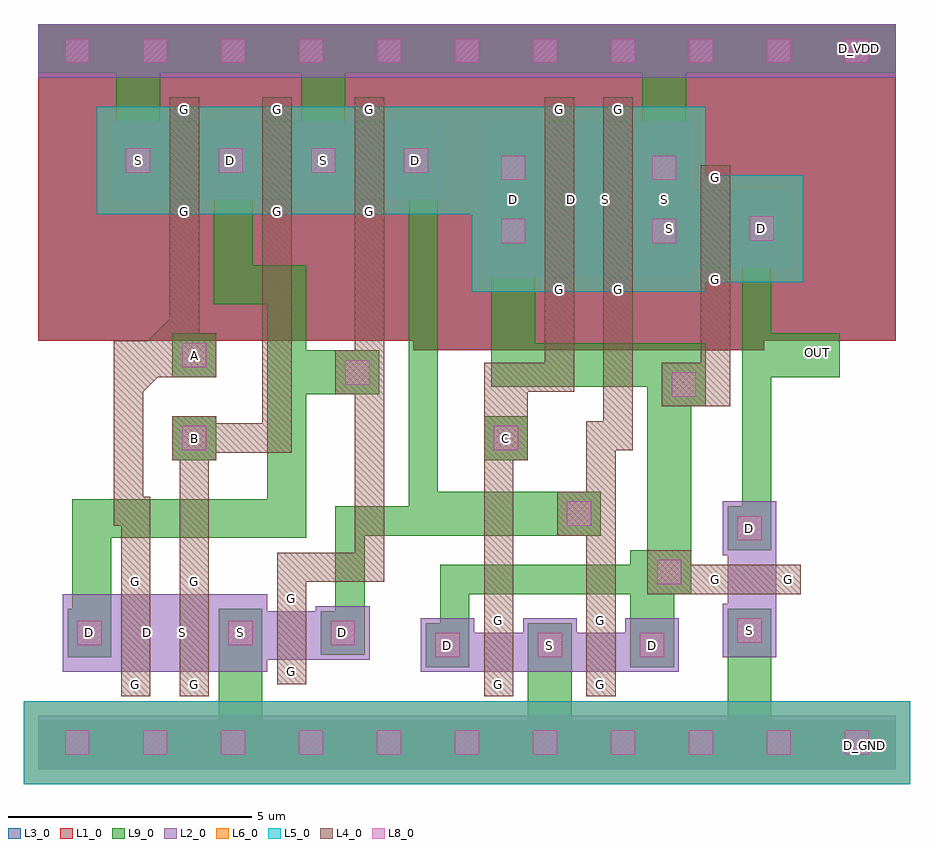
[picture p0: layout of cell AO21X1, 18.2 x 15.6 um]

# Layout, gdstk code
import gdstk
lib = gdstk.Library(unit=1e-6, precision=1e-09)
def R(c, l, rs):  # rectangles x0, y0, x1, y1
    for r in rs: c.add(gdstk.rectangle(r[:2], r[2:], *l))
def A(c, l, x, y, w, h, nx, ny, dx, dy):  # array of equal rectangles
    R(c, l, [(x+i*dx, y+j*dy, x+i*dx+w, y+j*dy+h) for i in range(nx) for j in range(ny)])
def P(c, l, *ps):  # polygons
    for p in ps: c.add(gdstk.Polygon(p, *l))
L1_0 = (1, 0)
L2_0 = (2, 0)
L3_0 = (3, 0)
L4_0 = (4, 0)
L5_0 = (5, 0)
L6_0 = (6, 0)
L8_0 = (8, 0)
L9_0 = (9, 0)

ao21x1 = lib.new_cell('AO21X1')
A(ao21x1, L1_0, 0, 8.8, 1.6, 6.5, 11, 1, 1.6, 0)
A(ao21x1, L1_0, 0, 10.2, 6, 4.6, 3, 1, 1.9, 0)
R(ao21x1, L1_0, [(7.7,8.6,13.7,14.8), (8.9,8.6,14.9,14.8), (10.9,8.8,16.9,13.4)])
A(ao21x1, L2_0, 0, 0, 1.6, 1.1, 11, 2, 1.6, 14.2)
A(ao21x1, L2_0, 2.6, 11.7, 0.8, 1.6, 3, 1, 1.9, 0)
R(ao21x1, L2_0, [(0.5,2,1.6,3.6), (1.6,2,2.4,3.6), (1.7,2,2.8,3.6), (2.4,2,3.5,3.6), (2.8,2,3.6,3.6), (3.6,2,4.7,3.6), (7.85,2,8.95,3.1), (8.95,2,9.95,2.8), (9.95,2,11.05,3.1), (9.95,2,11.05,3.1), (11.05,2,12.05,2.8), (12.05,2,13.15,3.1), (3.6,2.25,4.7,3.35), (4.7,2.25,5.7,3.25), (5.7,2.25,6.8,3.35), (14.05,2.3,15.15,3.4), (14.15,3.4,15.15,4.4), (14.05,4.4,15.15,5.5), (9.2,10.1,10.3,13.3), (10.3,10.1,11.1,13.3), (10.4,10.1,11.5,13.3), (11.1,10.1,12.2,13.3), (11.5,10.1,12.3,13.3), (12.3,10.1,13.4,13.3), (12.35,10.3,13.5,11.9), (12.4,10.3,13.5,11.9), (13.5,10.3,14.3,11.9), (14.3,10.3,15.4,11.9), (12.3,11.35,13.4,13.25), (1.5,11.7,2.6,13.3), (3.4,11.7,4.5,13.3), (3.4,11.7,4.5,13.3), (5.3,11.7,6.4,13.3), (5.3,11.7,6.4,13.3), (7.2,11.7,8.3,13.3)])
A(ao21x1, L3_0, 0, 8.8, 1.6, 6.5, 11, 1, 1.6, 0)
A(ao21x1, L3_0, 0, 10.2, 6, 4.6, 3, 1, 1.9, 0)
R(ao21x1, L3_0, [(7.7,8.6,13.7,14.8), (8.9,8.6,14.9,14.8), (10.9,8.8,16.9,13.4)])
A(ao21x1, L4_0, 2.7, 11.2, 0.6, 0.5, 3, 2, 1.9, 2.1)
A(ao21x1, L4_0, 2.7, 11.2, 0.6, 2.6, 3, 1, 1.9, 0)
R(ao21x1, L4_0, [(1.7,1.5,2.3,2), (1.7,1.5,2.3,4.1), (2.9,1.5,3.5,2), (2.9,1.5,3.5,4.1), (9.15,1.5,9.75,2), (9.15,1.5,9.75,3.3), (11.25,1.5,11.85,2), (11.25,1.5,11.85,3.3), (4.9,1.75,5.5,2.25), (4.9,1.75,5.5,3.75), (9.15,2.8,9.75,3.3), (11.25,2.8,11.85,3.3), (4.9,3.25,5.5,3.75), (11.25,3.25,11.85,4.4), (9.15,3.3,9.75,4.4), (1.7,3.6,2.3,4.1), (2.9,3.6,3.5,4.1), (12.5,3.6,13.4,4.5), (12.5,3.6,13.65,4.2), (13.65,3.6,15.65,4.2), (13.65,3.6,14.15,4.2), (15.15,3.6,15.65,4.2), (2.9,4.1,3.5,6.35), (10.65,4.8,11.55,5.7), (2.75,6.35,3.65,7.25), (9.15,6.35,10.05,7.25), (9.75,7.25,10.05,7.75), (12.8,7.45,13.7,8.35), (13.6,7.45,14.2,8.55), (6.1,7.7,7,8.6), (2.75,8.05,3.65,8.95), (2.7,8.2,3.3,11.4), (13.6,8.55,14.2,9.8), (10.4,9.6,11,13.8), (10.4,9.6,11,10.1), (11.6,9.6,12.2,13.8), (11.6,9.6,12.2,10.1), (13.6,9.8,14.2,10.3), (13.6,9.8,14.2,12.4), (13.6,11.9,14.2,12.4), (10.4,13.3,11,13.8), (11.6,13.3,12.2,13.8)])
P(ao21x1, L4_0, [(9.15,4.4),(9.75,4.4),(9.75,7.75),(11,7.75),(11,9.6),(10.4,9.6),(10.4,8.35),(9.15,8.35)],
  [(11.25,4.4),(11.85,4.4),(11.85,6.55),(12.2,6.55),(12.2,9.6),(11.6,9.6),(11.6,7.15),(11.25,7.15)],
  [(3.65,6.5),(5.2,6.5),(5.2,11.2),(4.6,11.2),(4.6,7.1),(3.65,7.1)],
  [(1.55,5),(1.7,5),(1.7,4.1),(2.3,4.1),(2.3,5.6),(2.15,5.6),(2.15,8.2),(3.05,8.2),(3.05,8.8),(1.55,8.8)],
  [(4.9,3.75),(5.5,3.75),(5.5,3.85),(7.1,3.85),(7.1,11.2),(6.5,11.2),(6.5,4.45),(4.9,4.45)],
  [(2.75,8.2),(2.15,8.2),(2.15,7.75),(2.45,8.05),(2.75,8.05)],
  [(2.7,8.8),(2.7,9.25),(2.25,8.8)])
A(ao21x1, L5_0, 1.6, -0.3, 1.6, 1.7, 9, 1, 1.6, 0)
A(ao21x1, L5_0, 1.2, 11.4, 3.6, 2.2, 3, 1, 1.9, 0)
R(ao21x1, L5_0, [(-0.3,-0.3,1.6,1.4), (16,-0.3,17.9,1.4), (8.9,9.8,12.5,13.6), (10.1,9.8,13.7,13.6), (12.1,10,15.7,12.2), (8.6,11.4,8.9,13.6)])
A(ao21x1, L6_0, 1.6, -0.3, 1.6, 1.7, 9, 1, 1.6, 0)
A(ao21x1, L6_0, 1.2, 11.4, 3.6, 2.2, 3, 1, 1.9, 0)
R(ao21x1, L6_0, [(-0.3,-0.3,1.6,1.4), (16,-0.3,17.9,1.4), (8.9,9.8,12.5,13.6), (10.1,9.8,13.7,13.6), (12.1,10,15.7,12.2), (8.6,11.4,8.9,13.6)])
A(ao21x1, L8_0, 0.55, 0.3, 0.5, 0.5, 11, 2, 1.6, 14.2)
R(ao21x1, L8_0, [(8.15,2.3,8.65,2.8), (10.25,2.3,10.75,2.8), (10.25,2.3,10.75,2.8), (12.35,2.3,12.85,2.8), (0.8,2.55,1.3,3.05), (3.9,2.55,4.4,3.05), (3.9,2.55,4.4,3.05), (6,2.55,6.5,3.05), (14.35,2.6,14.85,3.1), (12.7,3.8,13.2,4.3), (14.35,4.7,14.85,5.2), (10.85,5,11.35,5.5), (2.95,6.55,3.45,7.05), (9.35,6.55,9.85,7.05), (13,7.65,13.5,8.15), (6.3,7.9,6.8,8.4), (2.95,8.25,3.45,8.75), (9.5,10.8,10,11.3), (12.6,10.8,13.1,11.3), (14.6,10.85,15.1,11.35), (9.5,12.1,10,12.6), (12.6,12.1,13.1,12.6), (1.8,12.25,2.3,12.75), (3.7,12.25,4.2,12.75), (3.7,12.25,4.2,12.75), (5.6,12.25,6.1,12.75), (5.6,12.25,6.1,12.75), (7.5,12.25,8,12.75)])
A(ao21x1, L9_0, 0, 0, 1.6, 1, 11, 2, 1.6, 14.3)
R(ao21x1, L9_0, [(16.5,0.05,17.4,0.95), (3.7,0.1,4.6,3.25), (10.05,0.1,10.95,3), (14.15,0.1,15.05,3.3), (7.95,2.1,8.85,3), (10.05,2.1,10.95,3), (10.05,2.1,10.95,3), (12.15,2.1,13.05,3), (0.6,2.3,1.5,3.3), (3.7,2.3,4.6,3.3), (3.7,2.35,4.6,3.25), (5.8,2.35,6.7,3.25), (14.15,2.4,15.05,3.3), (12.5,3.6,13.4,4.5), (14.15,4.5,15.05,5.4), (8.2,4.8,10.65,5.7), (10.65,4.8,11.55,5.7), (14.45,4.8,15.05,11.2), (2.75,6.35,3.65,7.25), (2.75,6.35,3.65,7.25), (9.15,6.35,10.05,7.25), (9.15,6.35,10.05,7.25), (12.8,7.45,13.7,8.35), (4.75,7.7,7,8.6), (6.1,7.7,7,8.6), (4.7,7.75,5.6,8.55), (2.75,8.05,3.65,8.95), (2.75,8.05,3.65,8.95), (15.05,8.05,15.55,8.95), (15.55,8.05,16.45,8.95), (9.3,10.6,10.2,12.8), (12.4,10.6,13.3,12.8), (12.4,10.6,13.3,15), (14.4,10.6,15.3,11.6), (1.6,12,2.5,13), (3.5,12,4.4,13), (3.5,12,4.4,13), (5.4,12,6.3,13), (5.4,12,6.3,13), (7.3,12,8.2,13), (1.6,12.1,2.5,15.1), (5.4,12.1,6.3,15.1), (16.4,14.35,17.3,15.25)])
P(ao21x1, L9_0, [(12.5,3.6),(13.4,3.6),(13.4,7.45),(13.7,7.45),(13.7,8.35),(12.5,8.35)],
  [(12.15,2.1),(13.05,2.1),(13.05,3.6),(13.4,3.6),(13.4,4.5),(12.15,4.5)],
  [(9.3,7.85),(13.7,7.85),(13.7,8.75),(10.2,8.75),(10.2,10.6),(9.3,10.6)],
  [(8.25,2.4),(8.85,2.4),(8.85,3.6),(12.75,3.6),(12.75,4.2),(8.25,4.2)],
  [(6.1,2.65),(6.7,2.65),(6.7,4.8),(8.2,4.8),(8.2,12.6),(7.6,12.6),(7.6,5.4),(6.1,5.4)],
  [(0.7,2.5),(1.5,2.5),(1.5,4.75),(5.5,4.75),(5.5,8.55),(4.7,8.55),(4.7,5.55),(0.7,5.55)],
  [(3.6,9.55),(4.7,9.55),(4.7,7.75),(5.5,7.75),(5.5,10.35),(4.4,10.35),(4.4,12.8),(3.6,12.8)])
ao21x1.add(gdstk.Label('G', (11.9,13.548), layer=4, texttype=0))
ao21x1.add(gdstk.Label('G', (11.9,9.848), layer=4, texttype=0))
ao21x1.add(gdstk.Label('S', (12.851,11.699), layer=9, texttype=0))
ao21x1.add(gdstk.Label('D', (10.951,11.699), layer=2, texttype=0))
ao21x1.add(gdstk.Label('G', (4.9,11.452), layer=4, texttype=0))
ao21x1.add(gdstk.Label('G', (4.9,13.552), layer=4, texttype=0))
ao21x1.add(gdstk.Label('S', (5.851,12.501), layer=9, texttype=0))
ao21x1.add(gdstk.Label('D', (3.951,12.501), layer=9, texttype=0))
ao21x1.add(gdstk.Label('G', (13.9,10.052), layer=4, texttype=0))
ao21x1.add(gdstk.Label('G', (13.9,12.152), layer=4, texttype=0))
ao21x1.add(gdstk.Label('S', (12.949,11.101), layer=2, texttype=0))
ao21x1.add(gdstk.Label('D', (14.849,11.101), layer=9, texttype=0))
ao21x1.add(gdstk.Label('G', (11.55,1.752), layer=4, texttype=0))
ao21x1.add(gdstk.Label('G', (11.55,3.052), layer=4, texttype=0))
ao21x1.add(gdstk.Label('S', (10.499,2.551), layer=9, texttype=0))
ao21x1.add(gdstk.Label('D', (12.599,2.551), layer=9, texttype=0))
ao21x1.add(gdstk.Label('G', (6.8,11.452), layer=4, texttype=0))
ao21x1.add(gdstk.Label('G', (6.8,13.552), layer=4, texttype=0))
ao21x1.add(gdstk.Label('S', (5.849,12.501), layer=9, texttype=0))
ao21x1.add(gdstk.Label('D', (7.749,12.501), layer=9, texttype=0))
ao21x1.add(gdstk.Label('G', (15.398,3.9), layer=4, texttype=0))
ao21x1.add(gdstk.Label('G', (13.898,3.9), layer=4, texttype=0))
ao21x1.add(gdstk.Label('S', (14.599,2.849), layer=9, texttype=0))
ao21x1.add(gdstk.Label('D', (14.599,4.949), layer=9, texttype=0))
ao21x1.add(gdstk.Label('D', (2.251,2.801), layer=2, texttype=0))
ao21x1.add(gdstk.Label('G', (3.2,1.752), layer=4, texttype=0))
ao21x1.add(gdstk.Label('G', (3.2,3.852), layer=4, texttype=0))
ao21x1.add(gdstk.Label('S', (4.151,2.801), layer=9, texttype=0))
ao21x1.add(gdstk.Label('G', (9.45,1.752), layer=4, texttype=0))
ao21x1.add(gdstk.Label('G', (9.45,3.052), layer=4, texttype=0))
ao21x1.add(gdstk.Label('S', (10.501,2.551), layer=9, texttype=0))
ao21x1.add(gdstk.Label('D', (8.401,2.551), layer=9, texttype=0))
ao21x1.add(gdstk.Label('G', (3,11.452), layer=4, texttype=0))
ao21x1.add(gdstk.Label('G', (3,13.552), layer=4, texttype=0))
ao21x1.add(gdstk.Label('S', (2.049,12.501), layer=9, texttype=0))
ao21x1.add(gdstk.Label('D', (3.949,12.501), layer=9, texttype=0))
ao21x1.add(gdstk.Label('G', (10.7,13.548), layer=4, texttype=0))
ao21x1.add(gdstk.Label('G', (10.7,9.848), layer=4, texttype=0))
ao21x1.add(gdstk.Label('S', (11.651,11.699), layer=2, texttype=0))
ao21x1.add(gdstk.Label('D', (9.751,11.699), layer=9, texttype=0))
ao21x1.add(gdstk.Label('G', (2,1.752), layer=4, texttype=0))
ao21x1.add(gdstk.Label('G', (2,3.852), layer=4, texttype=0))
ao21x1.add(gdstk.Label('S', (2.951,2.801), layer=2, texttype=0))
ao21x1.add(gdstk.Label('D', (1.051,2.801), layer=9, texttype=0))
ao21x1.add(gdstk.Label('G', (5.2,2.002), layer=4, texttype=0))
ao21x1.add(gdstk.Label('G', (5.2,3.502), layer=4, texttype=0))
ao21x1.add(gdstk.Label('S', (4.149,2.801), layer=9, texttype=0))
ao21x1.add(gdstk.Label('D', (6.249,2.801), layer=9, texttype=0))
ao21x1.add(gdstk.Label('C', (9.6,6.8), layer=50, texttype=0))
ao21x1.add(gdstk.Label('D_GND', (16.95,0.5), layer=50, texttype=0))
ao21x1.add(gdstk.Label('A', (3.2,8.5), layer=50, texttype=0))
ao21x1.add(gdstk.Label('B', (3.2,6.8), layer=50, texttype=0))
ao21x1.add(gdstk.Label('D_VDD', (16.85,14.8), layer=50, texttype=0))
ao21x1.add(gdstk.Label('OUT', (16,8.55), layer=50, texttype=0))

lib.write_gds('AO21X1.gds')
